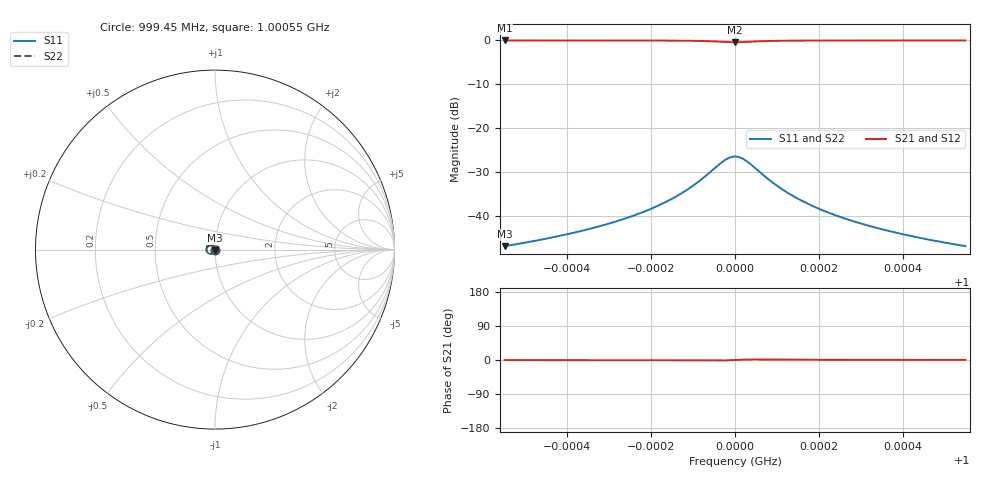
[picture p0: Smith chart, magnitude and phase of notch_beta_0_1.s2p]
! Created Tue Mar  9 10:46:14 2021
# hz S db R 50
! 2 Port Network Data from SP1.SP block
! freq  dbS11  angS11  dbS21  angS21  dbS12  angS12  dbS22  angS22
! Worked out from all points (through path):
!   201 points, 999.45 MHz to 1.00055 GHz, reference 50 ohm
!   highest |S21| = 0.00 dB at 999.45 MHz (marker M1); lowest = -0.4 dB at 1 GHz (marker M2)
!   lowest |S11| = -46.9 dB at 999.45 MHz (marker M3), VSWR 1.01, Z = 50 - j0.45 ohm
!   |S11| at or under -10 dB: start of sweep to end of sweep
!   |S22| runs from -46.9 to -26.4 dB; largest |S21 - S12| = 0
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9.9945e8  -46.89 -95.5  -0.00 -0.3  -0.00 -0.3  -46.89 -95.5
9.99549e8  -45.19 -96.6  -0.01 -0.3  -0.01 -0.3  -45.19 -96.6
9.99637e8  -43.33 -98.2  -0.01 -0.4  -0.01 -0.4  -43.33 -98.2
9.99736e8  -40.64 -101.2  -0.02 -0.5  -0.02 -0.5  -40.64 -101.2
9.9978e8  -39.13 -103.4  -0.02 -0.6  -0.02 -0.6  -39.13 -103.4
9.998185e8  -37.57 -106.1  -0.03 -0.7  -0.03 -0.7  -37.57 -106.1
9.99857e8  -35.70 -110.2  -0.05 -0.9  -0.05 -0.9  -35.70 -110.2
9.9989e8  -33.76 -115.5  -0.08 -1.1  -0.08 -1.1  -33.76 -115.5
9.999175e8  -31.85 -122.5  -0.12 -1.3  -0.12 -1.3  -31.85 -122.5
9.99978e8  -27.15 -157.3  -0.36 -1.0  -0.36 -1.0  -27.15 -157.3
9.99989e8  -26.63 -168.2  -0.41 -0.6  -0.41 -0.6  -26.63 -168.2
1e9  -26.44 180.0  -0.42 0.0  -0.42 0.0  -26.44 180.0
1.000011e9  -26.63 168.2  -0.41 0.6  -0.41 0.6  -26.63 168.2
1.000028e9  -27.50 152.4  -0.33 1.2  -0.33 1.2  -27.50 152.4
1.000082e9  -31.85 122.5  -0.12 1.3  -0.12 1.3  -31.85 122.5
1.000121e9  -34.45 113.5  -0.06 1.0  -0.06 1.0  -34.45 113.5
1.000154e9  -36.27 108.8  -0.04 0.8  -0.04 0.8  -36.27 108.8
1.000187e9  -37.81 105.7  -0.03 0.7  -0.03 0.7  -37.81 105.7
1.00027e9  -40.81 101.0  -0.01 0.5  -0.01 0.5  -40.81 101.0
1.000368e9  -43.46 98.1  -0.01 0.4  -0.01 0.4  -43.46 98.1
1.000451e9  -45.18 96.6  -0.01 0.3  -0.01 0.3  -45.18 96.6
1.00055e9  -46.89 95.5  -0.00 0.3  -0.00 0.3  -46.89 95.5
